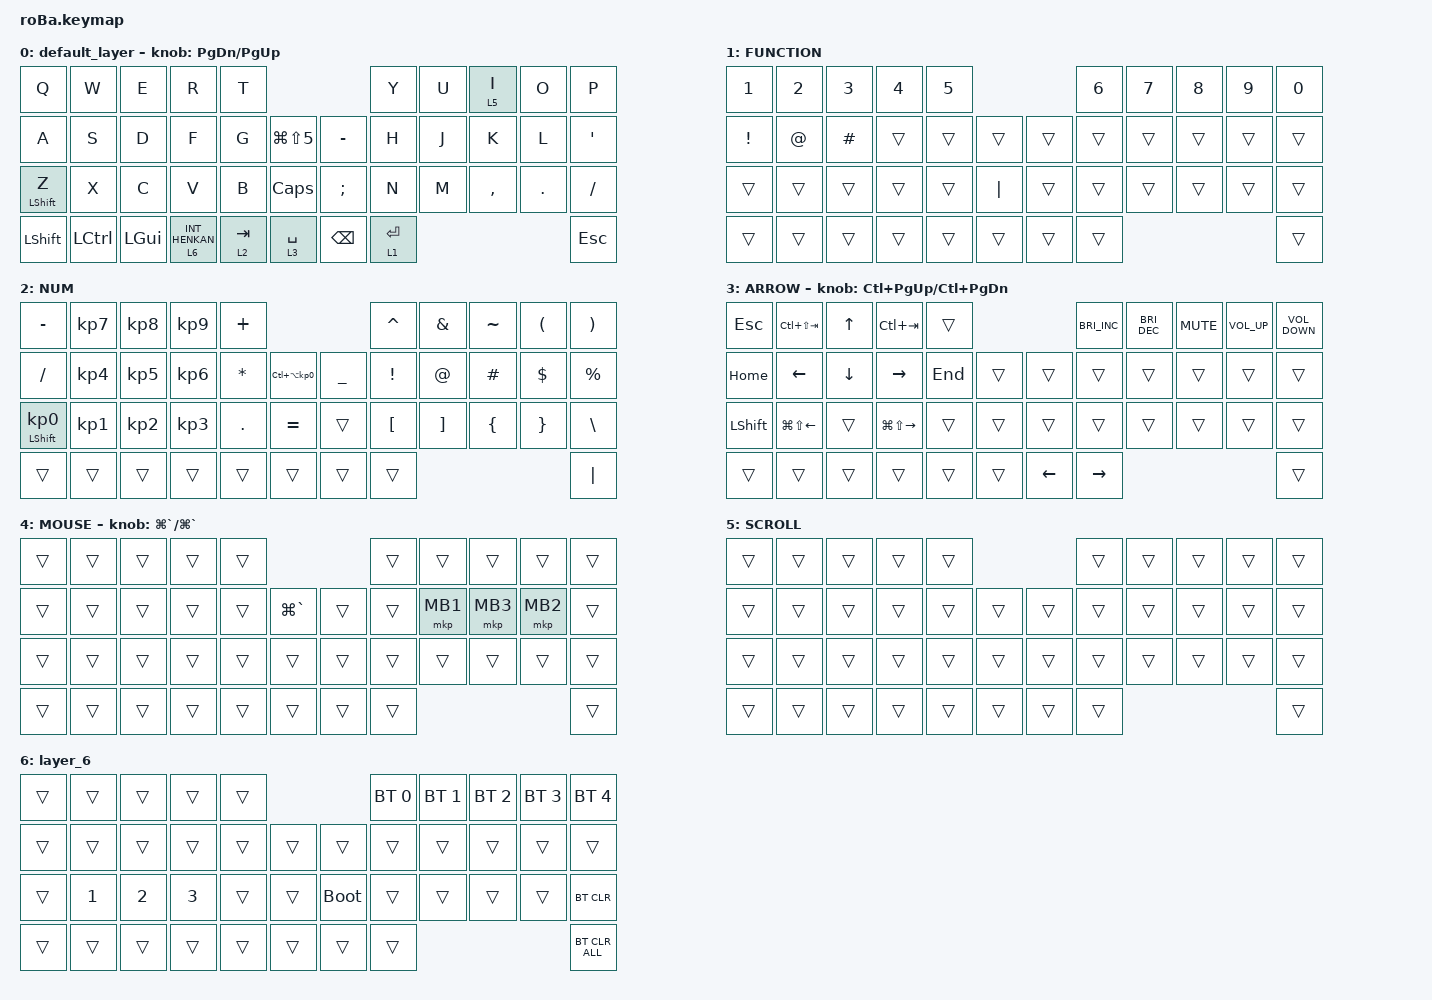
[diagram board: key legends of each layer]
#include <behaviors.dtsi>
#include <dt-bindings/zmk/bt.h>
#include <dt-bindings/zmk/keys.h>
#include <dt-bindings/zmk/pointing.h>

&mt {
    flavor = "balanced";
    quick-tap-ms = <0>;
};

&trackball {
    automouse-layer = <4>;
    scroll-layers = <5>;

    // arrows {
    //     layers = <3>;
    //     bindings =
    //         <&kp RIGHT_ARROW>,
    //         <&kp LEFT_ARROW>,
    //         <&kp UP_ARROW>,
    //         <&kp DOWN_ARROW>;
    //     tick = <10>;
    //     wait-ms = <5>;
    //     tap-ms = <5>;
    // };
};

/ {
    combos {
        compatible = "zmk,combos";

        tab {
            bindings = <&kp TAB>;
            key-positions = <11 12>;
        };

        shift_tab {
            bindings = <&kp LS(TAB)>;
            key-positions = <12 13>;
        };

        muhennkann {
            bindings = <&to_layer_0 INT_MUHENKAN>;
            key-positions = <11 10>;
        };

        double_quotation {
            bindings = <&kp DOUBLE_QUOTES>;
            key-positions = <20 21>;
        };

        eq {
            bindings = <&kp EQUAL>;
            key-positions = <24 25>;
        };
    };

    macros {
        to_layer_0: to_layer_0 {
            compatible = "zmk,behavior-macro-one-param";
            #binding-cells = <1>;
            bindings = <&to 0 &macro_param_1to1 &kp MACRO_PLACEHOLDER>;
            label = "TO_LAYER_0";
        };
    };

    behaviors {
        lt_to_layer_0: lt_to_layer_0 {
            compatible = "zmk,behavior-hold-tap";
            label = "LAYER_TAP_TO_0";
            bindings = <&mo>, <&to_layer_0>;

            #binding-cells = <2>;
            tapping-term-ms = <200>;
        };
    };

    keymap {
        compatible = "zmk,keymap";

        default_layer {
            bindings = <
&kp Q             &kp W             &kp E         &kp R                        &kp T                                                 &kp Y        &kp U  &lt 5 I    &kp O    &kp P
&kp A             &kp S             &kp D         &kp F                        &kp G      &kp LG(LS(N5))              &kp MINUS      &kp H        &kp J  &kp K      &kp L    &kp SQT
&mt LEFT_SHIFT Z  &kp X             &kp C         &kp V                        &kp B      &kp CAPS                    &kp SEMICOLON  &kp N        &kp M  &kp COMMA  &kp DOT  &kp SLASH
&kp LEFT_SHIFT    &kp LEFT_CONTROL  &kp LEFT_GUI  &lt_to_layer_0 6 INT_HENKAN  &lt 2 TAB  &lt_to_layer_0 3 SPACE      &kp BACKSPACE  &lt 1 ENTER                             &kp ESC
            >;

            sensor-bindings = <&inc_dec_kp PAGE_DOWN PAGE_UP>;
        };

        FUNCTION {
            bindings = <
&kp NUMBER_1     &kp NUMBER_2  &kp NUMBER_3  &kp NUMBER_4  &kp N5                        &kp NUMBER_6  &kp N7  &kp N8  &kp N9  &kp N0
&kp EXCLAMATION  &kp AT_SIGN   &kp HASH      &trans        &trans  &trans        &trans  &trans        &trans  &trans  &trans  &trans
&trans           &trans        &trans        &trans        &trans  &kp PIPE      &trans  &trans        &trans  &trans  &trans  &trans
&trans           &trans        &trans        &trans        &trans  &trans        &trans  &trans                                &trans
            >;
        };

        NUM {
            bindings = <
&kp MINUS                   &kp KP_NUMBER_7  &kp KP_NUMBER_8  &kp KP_NUMBER_9  &kp PLUS                                                   &kp CARET         &kp AMPERSAND      &kp TILDE       &kp LEFT_PARENTHESIS  &kp RIGHT_PARENTHESIS
&kp SLASH                   &kp KP_NUMBER_4  &kp KP_NUMBER_5  &kp KP_NUMBER_6  &kp ASTERISK  &kp LC(LA(KP_NUMBER_0))      &kp UNDERSCORE  &kp EXCLAMATION   &kp AT_SIGN        &kp HASH        &kp DOLLAR            &kp PERCENT
&mt LEFT_SHIFT KP_NUMBER_0  &kp KP_NUMBER_1  &kp KP_NUMBER_2  &kp KP_NUMBER_3  &kp PERIOD    &kp EQUAL                    &trans          &kp LEFT_BRACKET  &kp RIGHT_BRACKET  &kp LEFT_BRACE  &kp RIGHT_BRACE       &kp BACKSLASH
&trans                      &trans           &trans           &trans           &trans        &trans                       &trans          &trans                                                                     &kp PIPE
            >;
        };

        ARROW {
            bindings = <
&kp ESCAPE      &kp LC(LS(TAB))         &kp UP_ARROW    &kp LC(TAB)              &trans                               &kp C_BRIGHTNESS_INC  &kp C_BRIGHTNESS_DEC  &kp K_MUTE  &kp C_VOLUME_UP  &kp C_VOLUME_DOWN
&kp HOME        &kp LEFT_ARROW          &kp DOWN_ARROW  &kp RIGHT_ARROW          &kp END  &trans      &trans          &trans                &trans                &trans      &trans           &trans
&kp LEFT_SHIFT  &kp LG(LS(LEFT_ARROW))  &trans          &kp LG(LS(RIGHT_ARROW))  &trans   &trans      &trans          &trans                &trans                &trans      &trans           &trans
&trans          &trans                  &trans          &trans                   &trans   &trans      &kp LEFT_ARROW  &kp RIGHT_ARROW                                                          &trans
            >;

            sensor-bindings = <&inc_dec_kp LC(PAGE_UP) LC(PAGE_DOWN)>;
        };

        MOUSE {
            bindings = <
&trans  &trans  &trans  &trans  &trans                             &trans  &trans    &trans    &trans    &trans
&trans  &trans  &trans  &trans  &trans  &kp LG(GRAVE)      &trans  &trans  &mkp MB1  &mkp MB3  &mkp MB2  &trans
&trans  &trans  &trans  &trans  &trans  &trans             &trans  &trans  &trans    &trans    &trans    &trans
&trans  &trans  &trans  &trans  &trans  &trans             &trans  &trans                                &trans
            >;

            sensor-bindings = <&inc_dec_kp LG(GRAVE) LG(GRAVE)>;
        };

        SCROLL {
            bindings = <
&trans  &trans  &trans  &trans  &trans                      &trans  &trans  &trans  &trans  &trans
&trans  &trans  &trans  &trans  &trans  &trans      &trans  &trans  &trans  &trans  &trans  &trans
&trans  &trans  &trans  &trans  &trans  &trans      &trans  &trans  &trans  &trans  &trans  &trans
&trans  &trans  &trans  &trans  &trans  &trans      &trans  &trans                          &trans
            >;
        };

        layer_6 {
            bindings = <
&trans  &trans        &trans        &trans        &trans                           &bt BT_SEL 0  &bt BT_SEL 1  &bt BT_SEL 2  &bt BT_SEL 3  &bt BT_SEL 4
&trans  &trans        &trans        &trans        &trans  &trans      &trans       &trans        &trans        &trans        &trans        &trans
&trans  &kp NUMBER_1  &kp NUMBER_2  &kp NUMBER_3  &trans  &trans      &bootloader  &trans        &trans        &trans        &trans        &bt BT_CLR
&trans  &trans        &trans        &trans        &trans  &trans      &trans       &trans                                                  &bt BT_CLR_ALL
            >;
        };
    };
};
